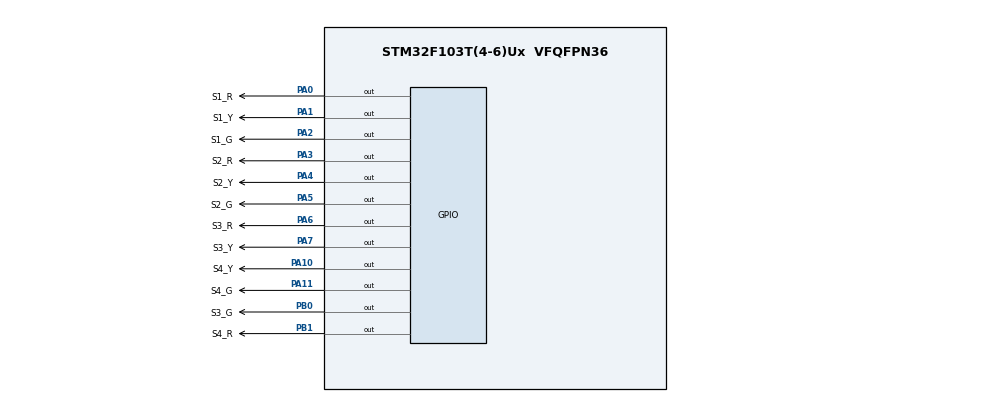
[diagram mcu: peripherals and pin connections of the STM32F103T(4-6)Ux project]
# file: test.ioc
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Mcu.Family=STM32F1
Mcu.Name=STM32F103T(4-6)Ux
Mcu.Package=VFQFPN36
NVIC.PriorityGroup=NVIC_PRIORITYGROUP_4
PA0-WKUP.GPIO_Label=S1_R
PA0-WKUP.Signal=GPIO_Output
PA1.GPIO_Label=S1_Y
PA1.Signal=GPIO_Output
PA10.GPIO_Label=S4_Y
PA10.Signal=GPIO_Output
PA11.GPIO_Label=S4_G
PA11.Signal=GPIO_Output
PA2.GPIO_Label=S1_G
PA2.Signal=GPIO_Output
PA3.GPIO_Label=S2_R
PA3.Signal=GPIO_Output
PA4.GPIO_Label=S2_Y
PA4.Signal=GPIO_Output
PA5.GPIO_Label=S2_G
PA5.Signal=GPIO_Output
PA6.GPIO_Label=S3_R
PA6.Signal=GPIO_Output
PA7.GPIO_Label=S3_Y
PA7.Signal=GPIO_Output
PB0.GPIO_Label=S3_G
PB0.Signal=GPIO_Output
PB1.GPIO_Label=S4_R
PB1.Signal=GPIO_Output
ProjectManager.HeapSize=0x200
ProjectManager.StackSize=0x400
ProjectManager.TargetToolchain=STM32CubeIDE
RCC.APB1Freq_Value=8000000
RCC.APB2Freq_Value=8000000
VP_SYS_VS_ND.Mode=No_Debug
board=custom

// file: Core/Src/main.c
/* USER CODE BEGIN Header */
/**
  ******************************************************************************
  * @file           : main.c
  * @brief          : Main program body
  ******************************************************************************
  * @attention
  *
  * <h2><center>&copy; Copyright (c) 2022 STMicroelectronics.
  * All rights reserved.</center></h2>
  *
  * This software component is licensed by ST under BSD 3-Clause license,
  * the "License"; You may not use this file except in compliance with the
  * License. You may obtain a copy of the License at:
  *                        opensource.org/licenses/BSD-3-Clause
  *
  ******************************************************************************
  */
/* USER CODE END Header */

#include "main.h"

/* USER CODE BEGIN PTD */
typedef enum {ESTADO_0, ESTADO_1, ESTADO_2, ESTADO_3, ESTADO_4, ESTADO_5,
		ESTADO_6, ESTADO_7, ESTADO_8, ESTADO_9} Tipo_estado;

Tipo_estado estado_atual;

/* USER CODE END PTD */

void SystemClock_Config(void);
static void MX_GPIO_Init(void);
void INIC_SYS();
void EST_RST();
void EST_S1R();
void EST_S1Y();
void EST_S1G();
void EST_S2R();
void EST_S2Y();
void EST_S2G();
void EST_S3R();
void EST_S3Y();
void EST_S3G();

/* USER CODE BEGIN PFP */

void (*tabela_estados[])() = {&EST_RST, &EST_S1R, &EST_S1Y, &EST_S1G, &EST_S2R, &EST_S2Y,
		&EST_S2G, &EST_S3R, &EST_S3Y, &EST_S3G};

/* USER CODE END PFP */

int main(void)
{

  /* MCU Configuration--------------------------------------------------------*/

  /* Reset of all peripherals, Initializes the Flash interface and the Systick. */
  HAL_Init();

  /* Configure the system clock */
  SystemClock_Config();

  /* Initialize all configured peripherals */
  MX_GPIO_Init();
  /* USER CODE BEGIN 2 */
  void INIC_SYS();

  /* USER CODE END 2 */

  /* Infinite loop */
  while (1)
  {
 /* USER CODE BEGIN 3 */

	  tabela_estados[estado_atual]();
	  HAL_Delay(200);

  }
  /* USER CODE END 3 */
}

void SystemClock_Config(void)
{
  RCC_OscInitTypeDef RCC_OscInitStruct = {0};
  RCC_ClkInitTypeDef RCC_ClkInitStruct = {0};

  /** Initializes the CPU, AHB and APB busses clocks
  */
  RCC_OscInitStruct.OscillatorType = RCC_OSCILLATORTYPE_HSI;
  RCC_OscInitStruct.HSIState = RCC_HSI_ON;
  RCC_OscInitStruct.HSICalibrationValue = RCC_HSICALIBRATION_DEFAULT;
  RCC_OscInitStruct.PLL.PLLState = RCC_PLL_NONE;
  if (HAL_RCC_OscConfig(&RCC_OscInitStruct) != HAL_OK)
  {
    Error_Handler();
  }
  /** Initializes the CPU, AHB and APB busses clocks
  */
  RCC_ClkInitStruct.ClockType = RCC_CLOCKTYPE_HCLK|RCC_CLOCKTYPE_SYSCLK
                              |RCC_CLOCKTYPE_PCLK1|RCC_CLOCKTYPE_PCLK2;
  RCC_ClkInitStruct.SYSCLKSource = RCC_SYSCLKSOURCE_HSI;
  RCC_ClkInitStruct.AHBCLKDivider = RCC_SYSCLK_DIV1;
  RCC_ClkInitStruct.APB1CLKDivider = RCC_HCLK_DIV1;
  RCC_ClkInitStruct.APB2CLKDivider = RCC_HCLK_DIV1;

  if (HAL_RCC_ClockConfig(&RCC_ClkInitStruct, FLASH_LATENCY_0) != HAL_OK)
  {
    Error_Handler();
  }
}

static void MX_GPIO_Init(void)
{
  GPIO_InitTypeDef GPIO_InitStruct = {0};

  /* GPIO Ports Clock Enable */
  __HAL_RCC_GPIOA_CLK_ENABLE();
  __HAL_RCC_GPIOB_CLK_ENABLE();

  /*Configure GPIO pin Output Level */
  HAL_GPIO_WritePin(GPIOA, S1_R_Pin|S1_Y_Pin|S1_G_Pin|S2_R_Pin
                          |S2_Y_Pin|S2_G_Pin|S3_R_Pin|S3_Y_Pin
                          |S4_Y_Pin|S4_G_Pin, GPIO_PIN_SET);

  /*Configure GPIO pin Output Level */
  HAL_GPIO_WritePin(GPIOB, S3_G_Pin|S4_R_Pin, GPIO_PIN_RESET);

  /*Configure GPIO pins : S1_R_Pin S1_Y_Pin S1_G_Pin S2_R_Pin
                           S2_Y_Pin S2_G_Pin S3_R_Pin S3_Y_Pin
                           S4_Y_Pin S4_G_Pin */
  GPIO_InitStruct.Pin = S1_R_Pin|S1_Y_Pin|S1_G_Pin|S2_R_Pin
                          |S2_Y_Pin|S2_G_Pin|S3_R_Pin|S3_Y_Pin
                          |S4_Y_Pin|S4_G_Pin;
  GPIO_InitStruct.Mode = GPIO_MODE_OUTPUT_PP;
  GPIO_InitStruct.Pull = GPIO_NOPULL;
  GPIO_InitStruct.Speed = GPIO_SPEED_FREQ_LOW;
  HAL_GPIO_Init(GPIOA, &GPIO_InitStruct);

  /*Configure GPIO pins : S3_G_Pin S4_R_Pin */
  GPIO_InitStruct.Pin = S3_G_Pin|S4_R_Pin;
  GPIO_InitStruct.Mode = GPIO_MODE_OUTPUT_PP;
  GPIO_InitStruct.Pull = GPIO_NOPULL;
  GPIO_InitStruct.Speed = GPIO_SPEED_FREQ_LOW;
  HAL_GPIO_Init(GPIOB, &GPIO_InitStruct);

}

/* USER CODE BEGIN 4 */
void INIC_SYS()
{
	estado_atual = ESTADO_0;

}
void EST_RST()
{
	HAL_GPIO_WritePin(S1_R_GPIO_Port,S1_R_Pin, 0);
	HAL_GPIO_WritePin(S1_Y_GPIO_Port,S1_Y_Pin, 1);
	HAL_GPIO_WritePin(S1_G_GPIO_Port,S1_G_Pin, 1);

	HAL_GPIO_WritePin(S2_R_GPIO_Port,S2_R_Pin, 0);
	HAL_GPIO_WritePin(S2_Y_GPIO_Port,S2_Y_Pin, 1);
	HAL_GPIO_WritePin(S2_G_GPIO_Port,S2_G_Pin, 1);

	HAL_GPIO_WritePin(S3_R_GPIO_Port,S3_R_Pin, 0);
	HAL_GPIO_WritePin(S3_Y_GPIO_Port,S3_Y_Pin, 1);
	HAL_GPIO_WritePin(S3_G_GPIO_Port,S3_G_Pin, 1);

	HAL_GPIO_WritePin(S4_R_GPIO_Port,S4_R_Pin, 0);
	HAL_GPIO_WritePin(S4_Y_GPIO_Port,S4_Y_Pin, 1);
	HAL_GPIO_WritePin(S4_G_GPIO_Port,S4_G_Pin, 1);
	HAL_Delay(500);

	estado_atual = ESTADO_1;

}
void EST_S1R()
{

	HAL_GPIO_WritePin(S1_R_GPIO_Port,S1_R_Pin, 1);
	HAL_GPIO_WritePin(S1_Y_GPIO_Port,S1_Y_Pin, 1);
	HAL_GPIO_WritePin(S1_G_GPIO_Port,S1_G_Pin, 0);
	HAL_Delay(500);

	estado_atual = ESTADO_2;

}
void EST_S1Y()
{
	HAL_GPIO_WritePin(S1_R_GPIO_Port,S1_R_Pin, 1);
	HAL_GPIO_WritePin(S1_Y_GPIO_Port,S1_Y_Pin, 0);
	HAL_GPIO_WritePin(S1_G_GPIO_Port,S1_G_Pin, 1);

	estado_atual = ESTADO_3;

}
void EST_S1G()
{
	HAL_GPIO_WritePin(S1_R_GPIO_Port,S1_R_Pin, 0);
	HAL_GPIO_WritePin(S1_Y_GPIO_Port,S1_Y_Pin, 1);
	HAL_GPIO_WritePin(S1_G_GPIO_Port,S1_G_Pin, 1);

	HAL_GPIO_WritePin(S2_R_GPIO_Port,S2_R_Pin, 1);
	HAL_GPIO_WritePin(S2_Y_GPIO_Port,S2_Y_Pin, 1);
	HAL_GPIO_WritePin(S2_G_GPIO_Port,S2_G_Pin, 0);
	HAL_Delay(500);

	estado_atual = ESTADO_4;

}
void EST_S2R()
{

	HAL_GPIO_WritePin(S2_R_GPIO_Port,S2_R_Pin, 1);
	HAL_GPIO_WritePin(S2_Y_GPIO_Port,S2_Y_Pin, 0);
	HAL_GPIO_WritePin(S2_G_GPIO_Port,S2_G_Pin, 1);

	estado_atual = ESTADO_5;

}
void EST_S2Y()
{
	HAL_GPIO_WritePin(S2_R_GPIO_Port,S2_R_Pin, 0);
	HAL_GPIO_WritePin(S2_Y_GPIO_Port,S2_Y_Pin, 1);
	HAL_GPIO_WritePin(S2_G_GPIO_Port,S2_G_Pin, 1);

	HAL_GPIO_WritePin(S3_R_GPIO_Port,S3_R_Pin, 1);
	HAL_GPIO_WritePin(S3_Y_GPIO_Port,S3_Y_Pin, 1);
	HAL_GPIO_WritePin(S3_G_GPIO_Port,S3_G_Pin, 0);
	HAL_Delay(500);

	estado_atual = ESTADO_6;
}
void EST_S2G()
{
	HAL_GPIO_WritePin(S3_R_GPIO_Port,S3_R_Pin, 1);
	HAL_GPIO_WritePin(S3_Y_GPIO_Port,S3_Y_Pin, 0);
	HAL_GPIO_WritePin(S3_G_GPIO_Port,S3_G_Pin, 1);

	estado_atual = ESTADO_7;

}
void EST_S3R()
{
	HAL_GPIO_WritePin(S3_R_GPIO_Port,S3_R_Pin, 0);
	HAL_GPIO_WritePin(S3_Y_GPIO_Port,S3_Y_Pin, 1);
	HAL_GPIO_WritePin(S3_G_GPIO_Port,S3_G_Pin, 1);

	HAL_GPIO_WritePin(S4_R_GPIO_Port,S4_R_Pin, 1);
	HAL_GPIO_WritePin(S4_Y_GPIO_Port,S4_Y_Pin, 1);
	HAL_GPIO_WritePin(S4_G_GPIO_Port,S4_G_Pin, 0);
	HAL_Delay(500);

	estado_atual = ESTADO_8;

}
void EST_S3Y()
{

	HAL_GPIO_WritePin(S4_R_GPIO_Port,S4_R_Pin, 1);
	HAL_GPIO_WritePin(S4_Y_GPIO_Port,S4_Y_Pin, 0);
	HAL_GPIO_WritePin(S4_G_GPIO_Port,S4_G_Pin, 1);

	estado_atual = ESTADO_9;

}
void EST_S3G()
{

	HAL_GPIO_WritePin(S4_R_GPIO_Port,S4_R_Pin, 0);
	HAL_GPIO_WritePin(S4_Y_GPIO_Port,S4_Y_Pin, 1);
	HAL_GPIO_WritePin(S4_G_GPIO_Port,S4_G_Pin, 1);

	estado_atual = ESTADO_1;

}

/* USER CODE END 4 */

void Error_Handler(void)
{
}

/************************ (C) COPYRIGHT STMicroelectronics *****END OF FILE****/
